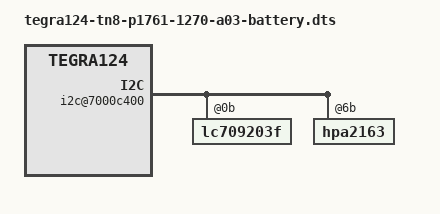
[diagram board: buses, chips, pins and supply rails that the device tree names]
#include "tegra124-tn8-p1761-1270-a03.dts"

/ {
	i2c@7000c400 {
		lc709203f@0b {
			status = "okay";
			onsemi,kernel-threshold-soc = < 2 >;
			onsemi,kernel-maximum-soc = <100>;
		};

		hpa2163@6b {
			charger {
				status = "okay";
				ti,charge-voltage-limit-millivolt = <4350>;
			};
		};
	};
};

